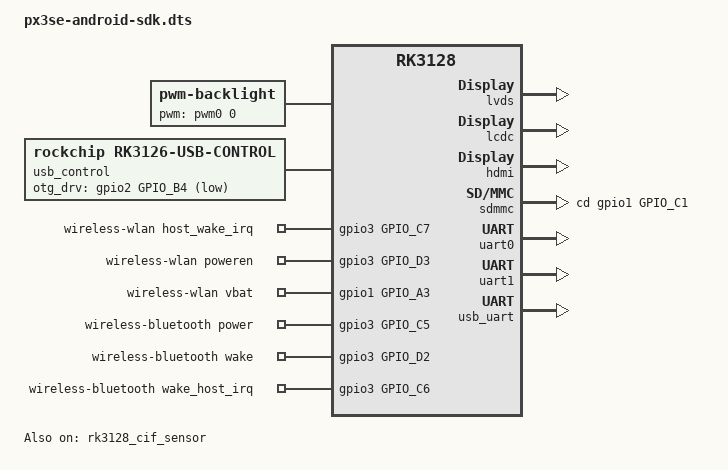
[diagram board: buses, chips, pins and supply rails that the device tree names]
/*
 * Copyright (c) 2016 Fuzhou Rockchip Electronics Co., Ltd
 *
 * This file is dual-licensed: you can use it either under the terms
 * of the GPL or the X11 license, at your option. Note that this dual
 * licensing only applies to this file, and not this project as a
 * whole.
 *
 *  a) This file is free software; you can redistribute it and/or
 *     modify it under the terms of the GNU General Public License as
 *     published by the Free Software Foundation; either version 2 of the
 *     License, or (at your option) any later version.
 *
 *     This file is distributed in the hope that it will be useful,
 *     but WITHOUT ANY WARRANTY; without even the implied warranty of
 *     MERCHANTABILITY or FITNESS FOR A PARTICULAR PURPOSE.  See the
 *     GNU General Public License for more details.
 *
 * Or, alternatively,
 *
 *  b) Permission is hereby granted, free of charge, to any person
 *     obtaining a copy of this software and associated documentation
 *     files (the "Software"), to deal in the Software without
 *     restriction, including without limitation the rights to use,
 *     copy, modify, merge, publish, distribute, sublicense, and/or
 *     sell copies of the Software, and to permit persons to whom the
 *     Software is furnished to do so, subject to the following
 *     conditions:
 *
 *     The above copyright notice and this permission notice shall be
 *     included in all copies or substantial portions of the Software.
 *
 *     THE SOFTWARE IS PROVIDED "AS IS", WITHOUT WARRANTY OF ANY KIND,
 *     EXPRESS OR IMPLIED, INCLUDING BUT NOT LIMITED TO THE WARRANTIES
 *     OF MERCHANTABILITY, FITNESS FOR A PARTICULAR PURPOSE AND
 *     NONINFRINGEMENT. IN NO EVENT SHALL THE AUTHORS OR COPYRIGHT
 *     HOLDERS BE LIABLE FOR ANY CLAIM, DAMAGES OR OTHER LIABILITY,
 *     WHETHER IN AN ACTION OF CONTRACT, TORT OR OTHERWISE, ARISING
 *     FROM, OUT OF OR IN CONNECTION WITH THE SOFTWARE OR THE USE OR
 *     OTHER DEALINGS IN THE SOFTWARE.
 */

/dts-v1/;

#include "rk3128.dtsi"
#include "rk3128-cif-sensor.dtsi"
#include "px3se-sdk.dtsi"
#include "lcd-lsl070nl01.dtsi"

/ {
	compatible = "rockchip,px3se-sdk","rockchip,rk3128";

	backlight: backlight {
		compatible = "pwm-backlight";
		pwms = <&pwm0 0 25000>;
		brightness-levels = <0 1 2 3 4 5 6 7 8 9 10 11 12 13 14 15 16
		17 18 19 20 21 22 23 24 25 26 27 28 29 30 31 32 33 34 35 36 37
		38 39 40 41 42 43 44 45 46 47 48 49 50 51 52 53 54 55 56 57 58
		59 60 61 62 63 64 65 66 67 68 69 70 71 72 73 74 75 76 77 78 79
		80 81 82 83 84 85 86 87 88 89 90 91 92 93 94 95 96 97 98 99 100
		101 102 103 104 105 106 107 108 109 110 111 112 113 114 115 116
		117 118 119 120 121 122 123 124 125 126 127 128 129 130 131 132
		133 134 135 136 137 138 139 140 141 142 143 144 145 146 147 148
		149 150 151 152 153 154 155 156 157 158 159 160 161 162 163 164
		165 166 167 168 169 170 171 172 173 174 175 176 177 178 179 180
		181 182 183 184 185 186 187 188 189 190 191 192 193 194 195 196
		197 198 199 200 201 202 203 204 205 206 207 208 209 210 211 212
		213 214 215 216 217 218 219 220 221 222 223 224 225 226 227 228
		229 230 231 232 233 234 235 236 237 238 239 240 241 242 243 244
		245 246 247 248 249 250 251 252 253 254 255>;
		default-brightness-level = <128>;
	};

	chip_state {
		compatible = "chip_state";
		clocks = <&clk_gates5 2>;
		clock-names = "chip_state";
	};

	usb_control {
		compatible = "rockchip,rk3126-usb-control";

		//host_drv_gpio = <&gpio2 GPIO_B3 GPIO_ACTIVE_LOW>;
		otg_drv_gpio = <&gpio2 GPIO_B4 GPIO_ACTIVE_LOW>;

		rockchip,remote_wakeup;
		rockchip,usb_irq_wakeup;
	};

	wireless-wlan {
		compatible = "wlan-platdata";

		wifi_chip_type = "rtl8723ds";
		sdio_vref = <1800>; /*1800mv or 3300mv*/
		/* WIFI_HOST_WAKE = GPIO3_C7 */
		WIFI,host_wake_irq = <&gpio3 GPIO_C7 GPIO_ACTIVE_HIGH>;
		/* WIFI_REG_ON  = GPIO3_D3 */
		WIFI,poweren_gpio  = <&gpio3 GPIO_D3 GPIO_ACTIVE_HIGH>;
		WIFI,vbat_gpio  = <&gpio1 GPIO_A3 GPIO_ACTIVE_HIGH>;

		status = "okay";
	};

	wireless-bluetooth {
		compatible = "bluetooth-platdata";
		//wifi-bt-power-toggle;
		keep_bt_power_on;
		//uart_rts_gpios = <&gpio2 GPIO_D3 GPIO_ACTIVE_LOW>;
		//pinctrl-names = "default","rts_gpio";
		//pinctrl-0 = <&uart0_rts>;
		//pinctrl-1 = <&uart0_rts_gpio>;
		BT,power_gpio = <&gpio3 GPIO_C5 GPIO_ACTIVE_HIGH>;
		//BT,reset_gpio = <&gpio3 GPIO_A2 GPIO_ACTIVE_HIGH>;
		BT,wake_gpio = <&gpio3 GPIO_D2 GPIO_ACTIVE_HIGH>;
		BT,wake_host_irq = <&gpio3 GPIO_C6 GPIO_ACTIVE_HIGH>;
		status = "okay";
	};
};

&fb {
	rockchip,disp-mode = <NO_DUAL>;
	rockchip,uboot-logo-on = <0>;
};

&gmac {
	status = "disabled";
};

&rk_screen {
	display-timings = <&disp_timings>;
};

&lvds {
	status = "okay";

	pinctrl-names = "lcdc";
	pinctrl-0 = <&lcdc0_lcdc_d>;
};

&lcdc {
	status = "okay";

	backlight = <&backlight>;
	//pinctrl-names = "den", "sync";
	//pinctrl-0 = <&lcdc0_den>;
	//pinctrl-1 = <&lcdc0_sync>;

	rockchip,fb-win-map = <FB_DEFAULT_ORDER>;
	power_ctr: power_ctr {
		rockchip,debug = <0>;
		lcd_cs: lcd_cs {
			rockchip,power_type = <GPIO>;
			gpios = <&gpio1 GPIO_B4 GPIO_ACTIVE_HIGH>;
			rockchip,delay = <10>;
		};
	};
};

&hdmi {
	status = "okay";
};

&sdmmc {
	status = "okay";
	cd-gpios = <&gpio1 GPIO_C1 GPIO_ACTIVE_HIGH>;/*CD GPIO*/
};

&key {
	power-key {
		gpios = <&gpio2 GPIO_B5 GPIO_ACTIVE_LOW>;
		linux,code = <116>;
		label = "power";
		gpio-key,wakeup;
	};
};

&uart0 {
	status = "okay";
};

&uart1 {
	status = "okay";
};

&dwc_control_usb {
	usb_uart {
		status = "ok";
	};
};

&rk3128_cif_sensor{
	status = "okay";
};

&clk_core_dvfs_table {
	operating-points = <
		/* KHz    uV */
		216000 925000
		408000 925000
		600000 950000
		696000 975000
		816000 1050000
		1008000 1175000
		1200000 1300000
		1296000 1350000
		1320000 1375000
		>;
	virt-temp-limit-1-cpu-busy = <
	/* target-temp	limit-freq */
		75	1008000
		85	1200000
		95	1200000
		100	1200000
		>;
	virt-temp-limit-2-cpu-busy = <
	/* target-temp	limit-freq */
		75	912000
		85	1008000
		95	1104000
		100	1200000
		>;
	virt-temp-limit-3-cpu-busy = <
	/* target-temp	limit-freq */
		75	816000
		85	912000
		95	100800
		100	110400
		>;
	virt-temp-limit-4-cpu-busy = <
	/* target-temp	limit-freq */
		75	816000
		85	912000
		95	100800
		100	110400
		>;
	temp-limit-enable = <1>;
	target-temp = <85>;
	status="okay";
};

&clk_gpu_dvfs_table {
	operating-points = <
		/* KHz    uV */
		200000 950000
		300000 975000
		400000 1075000
		//480000 1175000
		>;
	status="okay";
};

&clk_ddr_dvfs_table {
	operating-points = <
		/* KHz    uV */
		//200000 950000
		//300000 950000
		400000 1000000
		//533000 1200000
		>;

	freq-table = <
		/*status		freq(KHz)*/
		SYS_STATUS_NORMAL	400000
		SYS_STATUS_SUSPEND	400000
		SYS_STATUS_VIDEO_1080P  400000
		SYS_STATUS_VIDEO_4K     400000
		SYS_STATUS_VIDEO_4K_60FPS     400000
		SYS_STATUS_PERFORMANCE  400000
		SYS_STATUS_DUALVIEW	400000
		SYS_STATUS_BOOST	400000
		SYS_STATUS_ISP		400000
		>;
	auto-freq-table = <
		//240000
		//324000
		396000
		//528000
		>;
	auto-freq=<0>;
	status="okay";
};
